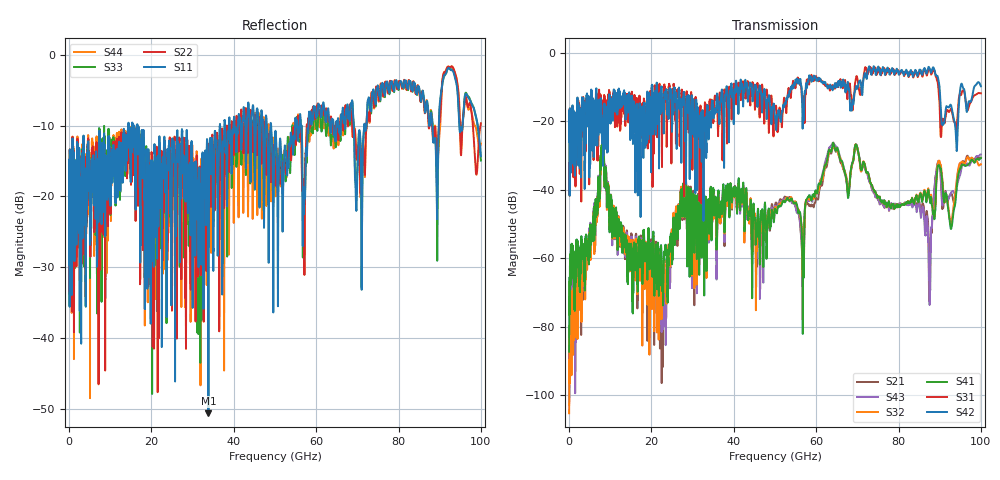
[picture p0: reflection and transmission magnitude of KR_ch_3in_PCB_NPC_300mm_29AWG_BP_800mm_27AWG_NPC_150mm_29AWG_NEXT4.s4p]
# GHz S RI R 45
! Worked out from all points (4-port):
!   4000 points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, 25 MHz to 100 GHz, reference 45 ohm
!   strongest paths, dB at 25 MHz, 25.02 GHz, 50.02 GHz, 75.03 GHz, 100 GHz:
!     S42: -21.2, -20.7, -18.6, -4.1, -9.8
!     S31: -21.2, -12.2, -15.7, -5.1, -11.8
!     S41: -87.2, -61.7, -45.5, -41.9, -30.7
!     S32: -105.2, -52.7, -45.1, -41.9, -32.5
!     S43: -101.7, -55.3, -44.7, -42.6, -29.6
!     S21: -102.6, -56.3, -44.3, -42.8, -30.6
!   lowest |S11| = -50.6 dB at 33.85 GHz (marker M1), VSWR 1.01, Z = 45.3 + j0.0134 ohm
!   |S11| at or under -10 dB: start of sweep to 14.35 GHz; 16.58 GHz to 36.62 GHz (20.04 GHz wide, 75.3 % of centre); 49.07 GHz to 54.88 GHz (5.812 GHz wide, 11.2 % of centre)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
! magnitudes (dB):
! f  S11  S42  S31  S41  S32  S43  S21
! 25 MHz  -16.5  -21.2  -21.2  -87.2  -105.2  -101.7  -102.6
! 8.1 GHz  -12.4  -19.4  -18.7  -28.9  -29.6  -29.1  -29.5
! 22.98 GHz  -15.2  -20.0  -11.9  -63.5  -61.7  -63.7  -64.0
! 33.85 GHz  -50.6  -23.1  -21.8  -42.7  -45.8  -45.9  -44.7
! 69.78 GHz  -21.9  -9.9  -6.9  -26.9  -26.8  -26.9  -27.1
! 87.6 GHz  -9.9  -4.6  -4.9  -42.8  -42.5  -69.6  -69.9
! 100 GHz  -14.4  -9.8  -11.8  -30.7  -32.5  -29.6  -30.6
